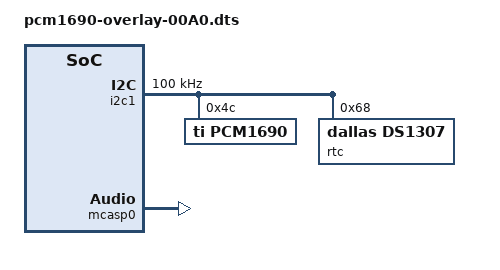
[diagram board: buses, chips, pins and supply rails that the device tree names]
//dtc -O dtb -o pcm1690-overlay-00A0.dtbo -b 0 -@ pcm1690-overlay-00A0.dts
//sudo cp pcm1690-overlay-00A0.dtbo /lib/firmware

/dts-v1/;
/plugin/;

/ {
	compatible = "ti,beaglebone-black";
	    /* identification */
        part-number = "pcm1690-overlay";
        version = "00A0","A0";
	
	exclusive-use =
		// audio 
		"P9.42",	// mcasp0_axr2 		audio out 
		"P9.27",	// mcasp0_axr3 		mic in 
		"P9.30",	// mcasp0_axr1 		radio in 
		"P9.31",	// mcasp0_aclkx		transmit bitclock 
		"P9.29",	// mcasp0_fsx 		transmit framesync
		"P9.25",	// mcasp0_ahclkx 	masterclock out
		//"P9.28",	// mcasp0_ahclkr  	masterclock in
		"P8.26",		//amute
		"P9_14", // 4xkhz
		"P9_16", //speed rate
		"P9.24", //i2c
        "P9.26",	//i2c
		"GPIO1_27", //Y4 oscillator
        //"i2c1_scl",
        //"i2c1_sda",
		"mcasp0","i2c1";
	
	
	fragment@0 {
		target = <&am33xx_pinmux>;
		__overlay__ {
			mcasp0_pins: pinmux_mcasp0_pins {
				pinctrl-single,pins = <
					0x198 0x20		// mcasp0_axr0,		MODE0 | INPUT_PULLDOWN | P9.30 
					0x1a0 0x02		// mcasp0_axr2,		MODE2 | OUTPUT_PULLDOWN | P9.42 
					0x1a4 0x22		// mcasp0_axr3,		MODE2 | INPUT_PULLDOWN | P9.27 					
					0x194 0x20		// mcasp0_fsx, 		MODE0 | INPUT_PULLDOWN | P9.29  
					0x190 0x20		// mcasp0_aclkx, 	MODE0 | INPUT_PULLDOWN | P9.31 
					0x1ac 0x20		// mcasp0_ahclkx,	MODE0 | INPUT_PULLDOWN | P9.25 
					//0x19c 0x20		// mcasp0_ahclkr,	MODE0 | INPUT_PULLDOWN | P9.28 
				>;
			};
			
			audiocard_i2c1_pins: pinmux_audiocard_i2c1_pins { 
				pinctrl-single,pins = <
					0x184 0x33		/* i2c1_scl, 	MODE3 | INPUT_PULLUP |  P9_24 */ 
                    0x180 0x33		/* i2c1_sda, 	MODE3 | INPUT_PULLUP |  P9_26 */                    
				>;
			};
			
			amute_pins: pinmux_amute_pins { 
				pinctrl-single,pins = <						
                    0x07c 0x57		// amutepcm1690, 	MODE7 | OUTPUT_PULLUP 0b01010111|  P8_26                     
				>;
			};
			clk_pins: pinmux_clk_pins { 
				pinctrl-single,pins = <
					0x04c 0x07		// speed, 	MODE7 | OUTPUT_PULLDOWN |  P9_16, gpio1 19	
					0x048 0x07		// 44/48, 	MODE7 | OUTPUT_PULLDOWN |  P9_14, gpio1 18	
					0x1a8 0x57		// Y4 oscillator on, v17 ball,	MODE7 | OUTPUT_PULLUP | GPIO1_27 
					//0x1a8 0x07		// Y4 oscillator off, v17 ball,	MODE7 | OUTPUT_PULLDOWN | GPIO1_27 
				>;
			};
		};
	};
	
	
	fragment@1 {
		target = <&i2c1>;
		__overlay__ {
			status = "okay";
			clock-frequency = <100000>; //100khz
			pinctrl-names = "default";
			pinctrl-0 = <&audiocard_i2c1_pins>;
			
			#address-cells = <1>;
			#size-cells = <0>;
			pcm1690: pcm1690@4c{					
				//#sound-dai-cells = <0>;
				compatible = "ti,pcm1690";
				reg = <0x4c>; //should be 4c
				status = "okay";
			};
			
			rtc@68 {
                compatible = "dallas,ds1307"; //really a DS3231
                reg = <0x68>;
				status = "okay";
            };
			
			//add other devices here that are in i2c-1 bus

		};
	};
	
	fragment@2 {
		target = <&mcasp0>;
		__overlay__ {
			pinctrl-names = "default";
			pinctrl-0 = <&mcasp0_pins>;

			status = "okay";
		
			op-mode = <0>;	/* MCASP_in i2s mode, 1 for DIT mode */
			tdm-slots = <8>;
			num-serializer = <16>;
			serial-dir = <  /* 0: INACTIVE, 1: TX, 2: RX */
				0 0 1 0  //2 0 1 2
				0 0 0 0
				0 0 0 0
				0 0 0 0
			>;
			tx-num-evt = <1>;
			rx-num-evt = <0>; //2
		};
		
    };
	fragment@3 {
		target = <&ocp>;
		__overlay__ {
			
			amute {		
				
				pinctrl-names = "default";
				pinctrl-0 = <&amute_pins>;
				
				amute_pcm1690	= <&gpio1 29 0x0>;
			};
			
			clks {		
			
				pinctrl-names = "default";
				pinctrl-0 = <&clk_pins>;
				
				speed_pin	= <&gpio1 19 0x0>;  //or $pin19, 0x04c 0x07 0x0
				clk4x_pin	= <&gpio1 18 0x0>;  //or $pin18, 0x048 0x07 0x0
			};
			
			
			sound {				
				compatible = "ti,soundcard-pcm1690";
				model = "soundcard pcm1690";
				audio-codec = <&pcm1690>;
				mcasp-controller = <&mcasp0>;
				audiocard-tdm-slots = <8>;
				codec-clock-rate = <24576000>; 
				cpu-clock-rate = <24576000>; //has to be 24.576MHz even that it's in reality a 24MHz
				//audio-codec-bit-delay-dac = <1>;
				//audio-codec-bit-delay-adc = <0>;
				//mcasp-controller-bit-delay-tx = <0>;
				//mcasp-controller-bit-delay-rx = <0>;
				/*
				audio-routing =
					"Speaker Out",            "FLOUT",
					"Speaker Out",            "FROUT",
					"Speaker Out",            "RLOUT",
					"Speaker Out", 			  "RROUT",
					"Line Out",         	  "VLINE1",
					"Line Out",          	  "VLINE2";
					//"Line Out",             "VOUT7",
					//"Line Out", 			 "VOUT8";
				*/
			};
		};
	};
	
	
	
	
};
